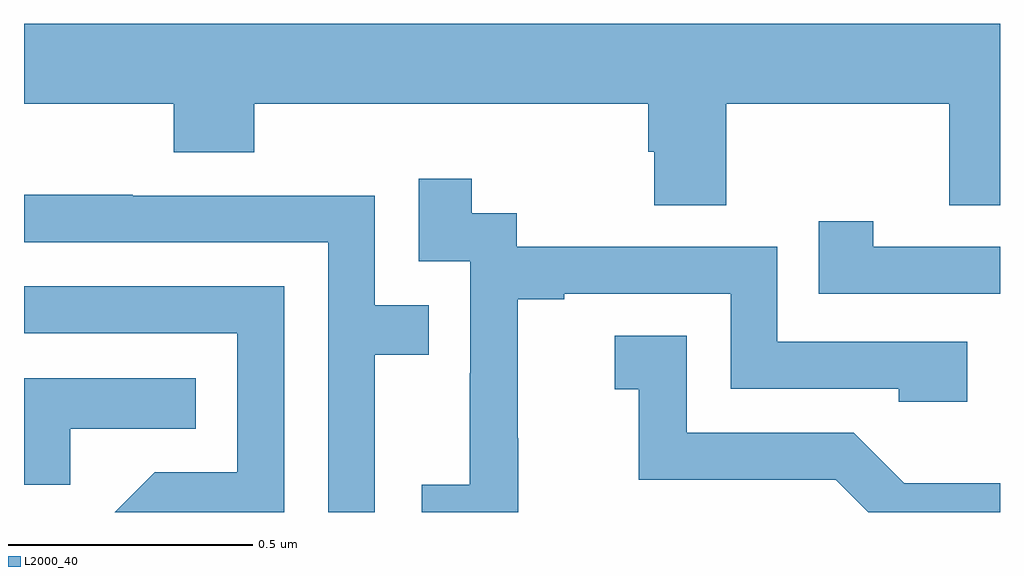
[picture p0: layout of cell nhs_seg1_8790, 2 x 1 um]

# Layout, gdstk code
import gdstk
lib = gdstk.Library(unit=1e-6, precision=1e-09)
def P(c, l, *ps):  # polygons
    for p in ps: c.add(gdstk.Polygon(p, *l))
L2000_40 = (2000, 40)

nhs_seg1_8790 = lib.new_cell('nhs_seg1_8790')
P(nhs_seg1_8790, L2000_40, [(221.439,581.036),(221.896,581.036),(221.896,580.828),(222,580.828),(222,581.2),(220,581.2),(220,581.036),(220.307,581.036),(220.307,580.937),(220.472,580.937),(220.472,581.036),(221.279,581.036),(221.279,580.938),(221.291,580.938),(221.291,580.828),(221.439,580.828)],
  [(221.013,580.351),(221.012,580.351),(221.012,580.635),(221.107,580.635),(221.107,580.647),(221.448,580.647),(221.448,580.452),(221.793,580.452),(221.793,580.425),(221.933,580.425),(221.933,580.548),(221.544,580.548),(221.544,580.743),(221.01,580.743),(221.01,580.812),(220.918,580.812),(220.918,580.882),(220.809,580.882),(220.809,580.713),(220.914,580.713),(220.914,580.484),(220.913,580.484),(220.913,580.255),(220.815,580.255),(220.815,580.199),(221.013,580.199)],
  [(220.719,580.522),(220.829,580.522),(220.829,580.623),(220.719,580.623),(220.719,580.848),(220.223,580.848),(220.223,580.85),(220,580.85),(220,580.752),(220.623,580.752),(220.623,580.199),(220.719,580.199)],
  [(222,580.743),(221.74,580.743),(221.74,580.795),(221.629,580.795),(221.629,580.647),(222,580.647)],
  [(220.533,580.662),(220,580.662),(220,580.566),(220.437,580.566),(220.437,580.281),(220.268,580.281),(220.186,580.199),(220.533,580.199)],
  [(222,580.258),(221.804,580.258),(221.7,580.362),(221.358,580.362),(221.358,580.561),(221.211,580.561),(221.211,580.451),(221.26,580.451),(221.26,580.266),(221.663,580.266),(221.73,580.199),(222,580.199)],
  [(220.095,580.37),(220.352,580.37),(220.352,580.474),(220,580.474),(220,580.255),(220.095,580.255)])

lib.write_gds('nhs_seg1_8790.gds')
